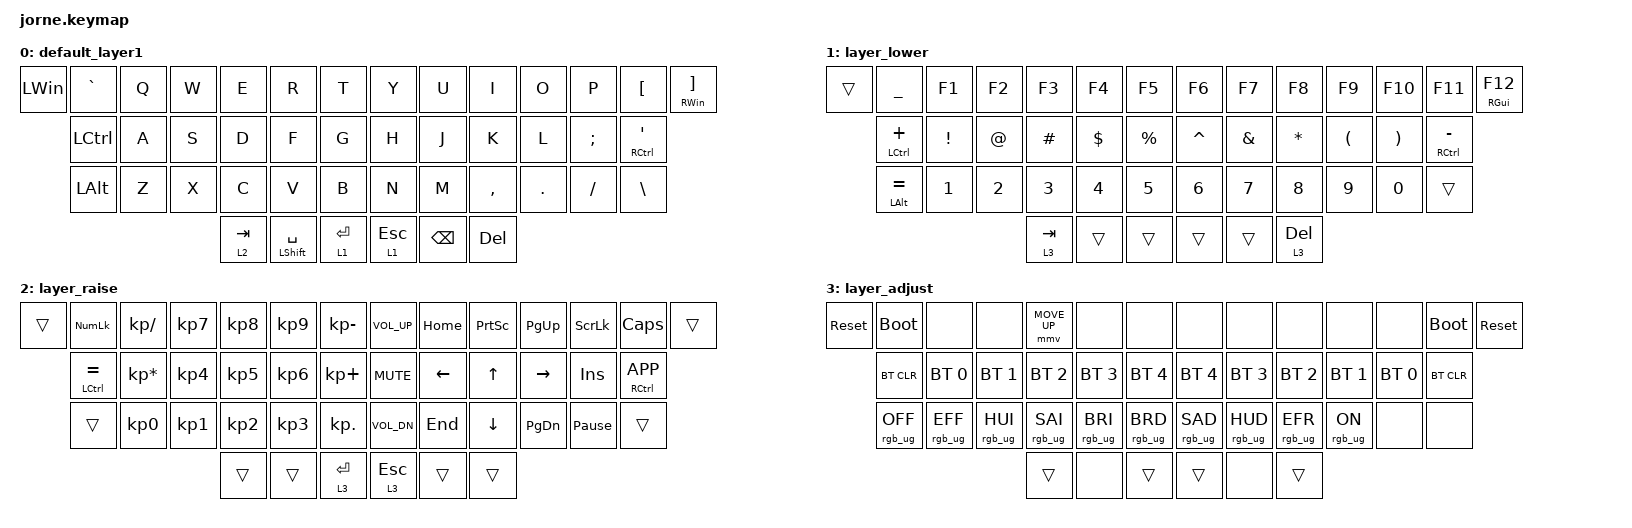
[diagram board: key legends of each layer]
/*
 * Copyright (c) 2020 The ZMK Contributors
 *
 * SPDX-License-Identifier: MIT
 */
/* THIS FILE WAS GENERATED!
 *
 * This file was generated automatically. You may or may not want to
 * edit it directly.
 */

#include <behaviors.dtsi>
#include <dt-bindings/zmk/bt.h>
#include <dt-bindings/zmk/keys.h>
#include <dt-bindings/zmk/pointing.h>
#include <dt-bindings/zmk/rgb.h>

/ {
    keymap {
        compatible = "zmk,keymap";

        default_layer1 {
            bindings = <
&kp LWIN  &kp GRAVE  &kp Q  &kp W  &kp E      &kp R            &kp T      &kp Y      &kp U     &kp I      &kp O    &kp P     &kp LBKT       &mt RWIN RBKT
          &kp LCTRL  &kp A  &kp S  &kp D      &kp F            &kp G      &kp H      &kp J     &kp K      &kp L    &kp SEMI  &mt RCTRL SQT
          &kp LALT   &kp Z  &kp X  &kp C      &kp V            &kp B      &kp N      &kp M     &kp COMMA  &kp DOT  &kp FSLH  &kp BSLH
                                   &lt 2 TAB  &mt LSHFT SPACE  &lt 1 RET  &lt 1 ESC  &kp BSPC  &kp DEL
            >;
        };

        layer_lower {
            bindings = <
&trans  &kp UNDER       &kp F1    &kp F2  &kp F3     &kp F4    &kp F5     &kp F6     &kp F7    &kp F8     &kp F9    &kp F10   &kp F11          &mt RGUI F12
        &mt LCTRL PLUS  &kp EXCL  &kp AT  &kp HASH   &kp DLLR  &kp PRCNT  &kp CARET  &kp AMPS  &kp STAR   &kp LPAR  &kp RPAR  &mt RCTRL MINUS
        &mt LALT EQUAL  &kp N1    &kp N2  &kp N3     &kp N4    &kp N5     &kp N6     &kp N7    &kp N8     &kp N9    &kp N0    &trans
                                          &lt 3 TAB  &trans    &trans     &trans     &trans    &lt 3 DEL
            >;
        };

        layer_raise {
            bindings = <
&trans  &kp KP_NUM       &kp KP_SLASH     &kp KP_N7  &kp KP_N8  &kp KP_N9  &kp KP_MINUS  &kp C_VOL_UP  &kp HOME  &kp PSCRN  &kp PG_UP  &kp SLCK         &kp CAPS         &trans
        &mt LCTRL EQUAL  &kp KP_MULTIPLY  &kp KP_N4  &kp KP_N5  &kp KP_N6  &kp KP_PLUS   &kp C_MUTE    &kp LEFT  &kp UP     &kp RIGHT  &kp INS          &mt RCTRL K_APP
        &trans           &kp KP_N0        &kp KP_N1  &kp KP_N2  &kp KP_N3  &kp KP_DOT    &kp C_VOL_DN  &kp END   &kp DOWN   &kp PG_DN  &kp PAUSE_BREAK  &trans
                                                     &trans     &trans     &lt 3 RET     &lt 3 ESC     &trans    &trans
            >;
        };

        layer_adjust {
            bindings = <
&sys_reset  &bootloader      &none            &none            &mmv MOVE_UP     &none            &none            &none            &none            &none            &none           &none         &bootloader  &sys_reset
            &bt BT_CLR       &bt BT_SEL 0     &bt BT_SEL 1     &bt BT_SEL 2     &bt BT_SEL 3     &bt BT_SEL 4     &bt BT_SEL 4     &bt BT_SEL 3     &bt BT_SEL 2     &bt BT_SEL 1    &bt BT_SEL 0  &bt BT_CLR
            &rgb_ug RGB_OFF  &rgb_ug RGB_EFF  &rgb_ug RGB_HUI  &rgb_ug RGB_SAI  &rgb_ug RGB_BRI  &rgb_ug RGB_BRD  &rgb_ug RGB_SAD  &rgb_ug RGB_HUD  &rgb_ug RGB_EFR  &rgb_ug RGB_ON  &none         &none
                                                               &trans           &none            &trans           &trans           &none            &trans
            >;
        };
    };
};
